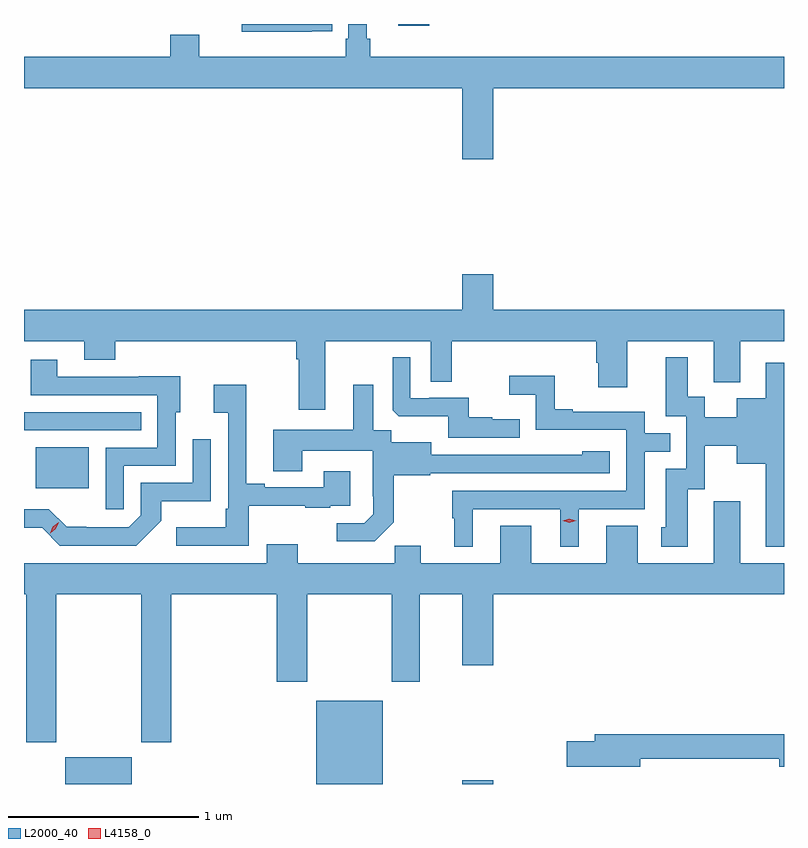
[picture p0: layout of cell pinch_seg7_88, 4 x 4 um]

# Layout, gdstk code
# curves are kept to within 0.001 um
import gdstk
lib = gdstk.Library(unit=1e-6, precision=1e-09)
def R(c, l, rs):  # rectangles x0, y0, x1, y1
    for r in rs: c.add(gdstk.rectangle(r[:2], r[2:], *l))
def P(c, l, *ps):  # polygons
    for p in ps: c.add(gdstk.Polygon(p, *l))
L2000_40 = (2000, 40)
L4158_0 = (4158, 0)

pinch_seg7_88 = lib.new_cell('pinch_seg7_88')
R(pinch_seg7_88, L2000_40, [(894.188,1011.605,894.538,1011.745), (895.508,1011.605,895.858,1012.042), (896.276,1011.605,896.44,1011.625), (894.032,1013.162,894.31,1013.377), (893.97,1013.466,894.587,1013.562), (895.94,1015.596,896.104,1015.605)])
P(pinch_seg7_88, L2000_40, [(896.44,1015.268),(897.97,1015.268),(897.97,1015.432),(895.793,1015.432),(895.793,1015.528),(895.774,1015.528),(895.774,1015.605),(895.677,1015.605),(895.677,1015.528),(895.664,1015.528),(895.664,1015.432),(894.892,1015.432),(894.892,1015.549),(894.74,1015.549),(894.74,1015.432),(893.97,1015.432),(893.97,1015.268),(896.276,1015.268),(896.276,1014.894),(896.44,1014.894)],
  [(895.484,1015.566),(895.592,1015.566),(895.592,1015.605),(895.116,1015.605),(895.116,1015.565),(895.484,1015.565)],
  [(895.555,1013.936),(896.112,1013.936),(896.112,1013.722),(896.221,1013.722),(896.221,1013.936),(896.981,1013.936),(896.981,1013.823),(896.993,1013.823),(896.993,1013.694),(897.145,1013.694),(897.145,1013.936),(897.599,1013.936),(897.599,1013.72),(897.739,1013.72),(897.739,1013.936),(897.97,1013.936),(897.97,1014.1),(896.44,1014.1),(896.44,1014.289),(896.276,1014.289),(896.276,1014.1),(893.97,1014.1),(893.97,1013.936),(894.287,1013.936),(894.287,1013.837),(894.451,1013.837),(894.451,1013.936),(895.403,1013.936),(895.403,1013.84),(895.415,1013.84),(895.415,1013.574),(895.555,1013.574)],
  [(897.97,1013.821),(897.875,1013.821),(897.875,1013.635),(897.722,1013.635),(897.722,1013.536),(897.553,1013.536),(897.553,1013.642),(897.463,1013.642),(897.463,1013.851),(897.347,1013.851),(897.347,1013.541),(897.456,1013.541),(897.456,1013.265),(897.347,1013.265),(897.347,1012.956),(897.323,1012.956),(897.323,1012.854),(897.463,1012.854),(897.463,1013.157),(897.552,1013.157),(897.552,1013.384),(897.722,1013.384),(897.722,1013.291),(897.875,1013.291),(897.875,1012.853),(897.97,1012.853)],
  [(896.579,1013.524),(896.435,1013.524),(896.435,1013.536),(896.312,1013.536),(896.312,1013.637),(896.104,1013.637),(896.104,1013.634),(896.004,1013.634),(896.004,1013.851),(895.911,1013.851),(895.911,1013.571),(895.943,1013.54),(896.202,1013.54),(896.202,1013.427),(896.579,1013.427)],
  [(894.495,1013.28),(894.768,1013.28),(894.768,1013.562),(894.793,1013.562),(894.793,1013.75),(894.575,1013.75),(894.575,1013.748),(894.145,1013.748),(894.145,1013.839),(894.005,1013.839),(894.005,1013.652),(894.672,1013.652),(894.672,1013.376),(894.399,1013.376),(894.399,1013.052),(894.495,1013.052)],
  [(896.332,1013.052),(896.792,1013.052),(896.792,1012.853),(896.89,1012.853),(896.89,1013.052),(897.237,1013.052),(897.237,1013.355),(897.371,1013.355),(897.371,1013.451),(897.237,1013.451),(897.237,1013.565),(896.857,1013.565),(896.857,1013.578),(896.763,1013.578),(896.763,1013.753),(896.523,1013.753),(896.523,1013.654),(896.664,1013.654),(896.664,1013.469),(897.141,1013.469),(897.141,1013.148),(896.223,1013.148),(896.223,1013.004),(896.234,1013.004),(896.234,1012.853),(896.332,1012.853)],
  [(895.153,1013.069),(895.451,1013.069),(895.451,1013.058),(895.583,1013.058),(895.583,1013.07),(895.687,1013.07),(895.687,1013.251),(895.547,1013.251),(895.547,1013.166),(895.237,1013.166),(895.237,1013.185),(895.141,1013.185),(895.141,1013.707),(894.969,1013.707),(894.969,1013.558),(895.044,1013.558),(895.044,1013.053),(895.032,1013.053),(895.032,1012.957),(894.771,1012.957),(894.771,1012.86),(895.153,1012.86)],
  [(895.917,1012.983),(895.917,1013.229),(896.109,1013.229),(896.109,1013.241),(897.052,1013.241),(897.052,1013.356),(896.907,1013.356),(896.907,1013.338),(896.113,1013.337),(896.113,1013.404),(895.902,1013.404),(895.902,1013.468),(895.807,1013.468),(895.807,1013.707),(895.703,1013.707),(895.703,1013.47),(895.283,1013.47),(895.283,1013.251),(895.435,1013.251),(895.435,1013.36),(895.806,1013.36),(895.806,1013.119),(895.808,1013.119),(895.808,1013.024),(895.761,1012.977),(895.617,1012.977),(895.617,1012.883),(895.817,1012.883)],
  [(894.693,1012.991),(894.693,1013.093),(894.954,1013.093),(894.954,1013.419),(894.858,1013.419),(894.858,1013.19),(894.585,1013.19),(894.585,1013.019),(894.522,1012.956),(894.298,1012.956),(894.298,1012.958),(894.194,1012.958),(894.099,1013.052),(893.97,1013.052),(893.97,1012.955),(894.065,1012.955),(894.159,1012.86),(894.562,1012.86)],
  [(897.97,1012.768),(897.739,1012.768),(897.739,1013.092),(897.6,1013.092),(897.6,1012.979),(897.599,1012.979),(897.599,1012.768),(897.199,1012.768),(897.199,1012.963),(897.035,1012.963),(897.035,1012.768),(896.641,1012.768),(896.641,1012.963),(896.477,1012.963),(896.477,1012.768),(896.059,1012.768),(896.059,1012.859),(895.921,1012.859),(895.921,1012.768),(895.411,1012.768),(895.411,1012.867),(895.247,1012.867),(895.247,1012.768),(893.97,1012.768),(893.97,1012.604),(893.981,1012.604),(893.981,1011.825),(894.141,1011.825),(894.141,1012.604),(894.586,1012.604),(894.586,1011.825),(894.746,1011.825),(894.746,1012.604),(895.301,1012.604),(895.301,1012.143),(895.461,1012.143),(895.461,1012.604),(895.906,1012.604),(895.906,1012.143),(896.053,1012.143),(896.053,1012.604),(896.276,1012.604),(896.276,1012.23),(896.44,1012.23),(896.44,1012.604),(897.97,1012.604)],
  [(897.214,1011.738),(897.944,1011.738),(897.944,1011.695),(897.97,1011.695),(897.97,1011.866),(896.975,1011.866),(896.975,1011.83),(896.826,1011.83),(896.826,1011.695),(897.214,1011.695)])
P(pinch_seg7_88, L4158_0, [(896.841,1012.98),(896.806,1012.99),(896.805,1012.99),(896.806,1012.991),(896.841,1013),(896.876,1012.991),(896.877,1012.99),(896.876,1012.99)],
  [(894.107,1012.926),(894.107,1012.926),(894.122,1012.96),(894.153,1012.982),(894.153,1012.982),(894.153,1012.981),(894.138,1012.948),(894.107,1012.926)])

lib.write_gds('pinch_seg7_88.gds')
